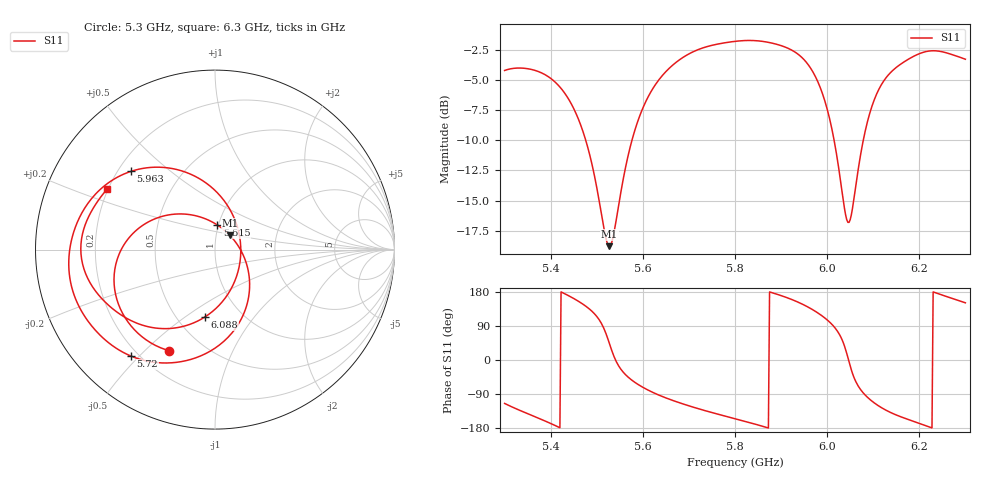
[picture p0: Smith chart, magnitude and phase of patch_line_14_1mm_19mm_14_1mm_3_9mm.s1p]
! Created with skrf 1.8.0 (http://scikit-rf.org).
# Hz S RI R 50.0
!freq ReS11 ImS11
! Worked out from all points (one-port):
!   401 points, 5.3 GHz to 6.3 GHz, reference 50 ohm
!   lowest |S11| = -18.8 dB at 5.527 GHz (marker M1), VSWR 1.26, Z = 58.3 + j9.3 ohm
!   |S11| at or under -10 dB: 5.476 GHz to 5.576 GHz (100.1 MHz wide, 1.81 % of centre); 6.015 GHz to 6.078 GHz (63.12 MHz wide, 1.04 % of centre)
!   S11 on the Smith chart (normalised r, x): 5.3 GHz: 0.32, -0.59; 5.515 GHz: 0.99, +0.28; 5.72 GHz: 0.17, -0.47; 5.963 GHz: 0.25, +0.37; 6.088 GHz: 0.68, -0.60; 6.3 GHz: 0.20, +0.25
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5.3e9  -0.2579 -0.5626
5.3675e9  -0.5378 -0.3044
5.3975e9  -0.5616 -0.1385
5.425e9  -0.5138 0.0159
5.475e9  -0.2572 0.1935
5.515e9  0.013 0.1372
5.5275e9  0.0836 0.0787
5.55e9  0.1702 -0.063
5.5725e9  0.1918 -0.2266
5.6e9  0.133 -0.4104
5.635e9  -0.0268 -0.5658
5.675e9  -0.2423 -0.6307
5.72e9  -0.4691 -0.5928
5.8e9  -0.74 -0.3491
5.865e9  -0.8139 -0.0465
5.925e9  -0.698 0.2712
5.9625e9  -0.4677 0.4361
5.9825e9  -0.2861 0.4578
6.0025e9  -0.0935 0.3991
6.0225e9  0.0646 0.2532
6.04e9  0.1372 0.0723
6.05e9  0.1424 -0.0401
6.0675e9  0.0865 -0.2243
6.0875e9  -0.0555 -0.3749
6.12e9  -0.3329 -0.4368
6.175e9  -0.6305 -0.2733
6.2325e9  -0.7474 0.0183
6.3e9  -0.6022 0.3351
